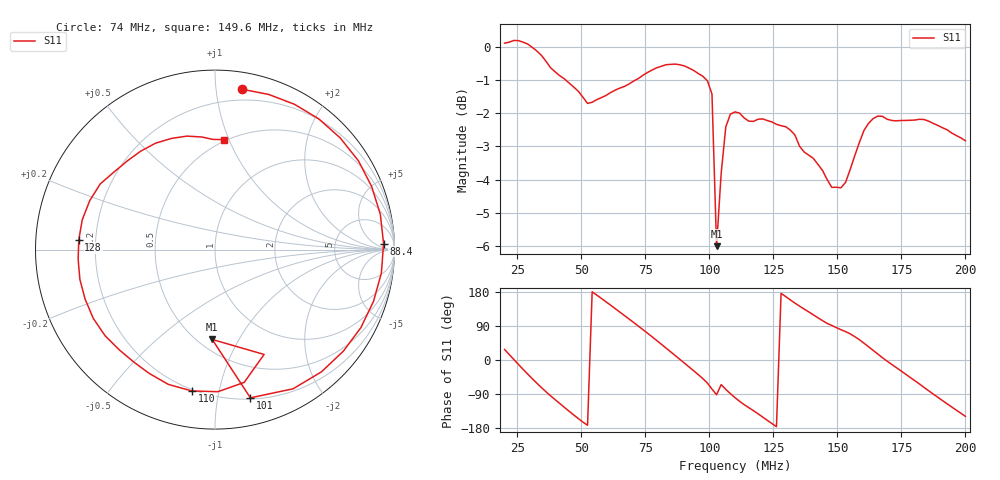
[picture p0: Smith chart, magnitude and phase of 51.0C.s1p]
# HZ S RI R 50
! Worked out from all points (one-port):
!   101 points, 20 MHz to 200 MHz, reference 50 ohm
!   lowest |S11| = -6.0 dB at 102.8 MHz (marker M1), VSWR 3.01, Z = 29.2 - j39.1 ohm
!   |S11| at or under -10 dB: nowhere
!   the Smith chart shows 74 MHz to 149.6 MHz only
!   S11 on the Smith chart (normalised r, x): 74 MHz: 0.12, +1.18; 88.4 MHz: 24, +14; 101 MHz: 0.21, -1.25; 110 MHz: 0.19, -0.83; 128 MHz: 0.14, +0.04; 149.6 MHz: 0.49, +0.96
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2e7  0.896 0.4726
2.54e7  1.001 -0.2062
3.26e7  0.4755 -0.8634
3.8e7  -0.0767 -0.9266
4.34e7  -0.5164 -0.7305
4.88e7  -0.7743 -0.3677
5.42e7  -0.8252 0.000991
6.5e7  -0.5149 0.6971
7.4e7  0.1518 0.8932
8.12e7  0.6975 0.6223
8.84e7  0.9392 0.033
9.56e7  0.7156 -0.5652
1.01e8  0.1971 -0.826
1.028e8  -0.0154 -0.5008
1.046e8  0.2735 -0.5842
1.064e8  0.1628 -0.7398
1.1e8  -0.1288 -0.7876
1.208e8  -0.6783 -0.383
1.28e8  -0.7589 0.0546
1.334e8  -0.6393 0.3661
1.406e8  -0.3318 0.5928
1.496e8  0.0491 0.6125
1.55e8  0.2339 0.6105
1.604e8  0.5358 0.5229
1.676e8  0.7816 0.0825
1.784e8  0.5401 -0.5561
1.892e8  -0.1093 -0.7537
2e8  -0.6161 -0.3764
